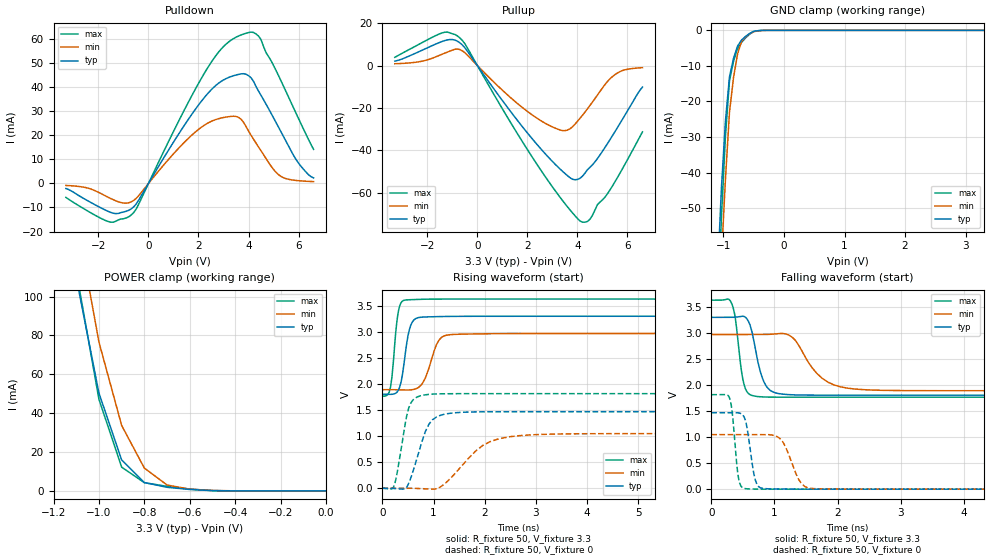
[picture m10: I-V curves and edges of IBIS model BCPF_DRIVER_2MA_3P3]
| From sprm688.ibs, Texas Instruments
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|   Model Cell BCPF_DRIVER_2MA_3P3
|BCPF_DRIVER_2MA_3P3
[Model]   BCPF_DRIVER_2MA_3P3
Model_type   I/O
Polarity   Non-Inverting
Enable   Active-Low
Vinl =  0.8
Vinh =  2
Cref =  15.0000pF
Rref =  100.0000M
Vref =  0V
Vmeas =  1.65
C_comp   1.21982p   0.982413p   1.3757p
[Model Spec]
Vinl   0.8   0.8   0.8
Vinh   2   2   2
[Temperature Range]   25   155   -40
[Voltage Range]   3.3   2.97   3.63
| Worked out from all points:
|   slope of the pulldown table from 0 to 0.495 V, typ, clamps not added: 57.1 ohm
|   slope of the pullup table from 0 to 0.495 V, typ, clamps not added: 59.6 ohm
|   GND clamp passes 1 mA (typ) near -0.58 V on its own axis
|   POWER clamp passes 1 mA (typ) near -0.62 V on its own axis
|   rising waveform, R_fixture 50, V_fixture 3.3: 20-80 % time 140ps typ, 221ps min, 104ps max; typ from 1.8 V to 3.3 V
|   rising waveform, R_fixture 50, V_fixture 0: 20-80 % time 294ps typ, 647ps min, 192ps max; typ from 0 V to 1.47 V
|   falling waveform, R_fixture 50, V_fixture 3.3: 20-80 % time 172ps typ, 397ps min, 112ps max; typ from 3.3 V to 1.8 V
|   falling waveform, R_fixture 50, V_fixture 0: 20-80 % time 109ps typ, 211ps min, 80.2ps max; typ from 1.47 V to 0 V
| Nom Voltages:
|   BIASFET=3.3, VDD=1.2, VDDS=3.3, VSS=0
| Min Voltages:
|   BIASFET=2.97, VDD=1.08, VDDS=2.97, VSS=0
| Max Voltages:
|   BIASFET=3.63, VDD=1.32, VDDS=3.63, VSS=0
[POWER_clamp]
|   voltage   I(typ)   I(min)   I(max)
-3.3V     1.919A     2.431A     2.069A
-1.1V     109.8mA    140.8mA    113.1mA
-1.067V   89.98mA    119.4mA    91.15mA
-1.033V   70.17mA    98.03mA    69.15mA
-1V       50.36mA    76.65mA    47.16mA
-900mV    15.95mA    33.71mA    12.25mA
-800mV    4.313mA    11.75mA    4.256mA
-700mV    1.873mA    3.047mA    2.352mA
-600mV    751.5uA    902uA      945.8uA
-500mV    149.1uA    244.6uA    161.3uA
0V        284.5pA    4.537nA    258.9pA
[Pulldown]
|   voltage   I(typ)   I(min)   I(max)
-3.3V     -2.106mA   -829.9uA   -5.795mA
-1.6V     -11.66mA   -5.789mA   -15.87mA
-700mV    -10.64mA   -7.705mA   -13.21mA
-400mV    -7.072mA   -5.205mA   -8.811mA
1.4V      23.67mA    16.77mA    29.91mA
2.4V      37.79mA    25.3mA     48.71mA
3.5V      45.14mA    27.89mA    60.88mA
4.1V      44.01mA    20.04mA    63.01mA
4.5V      36.67mA    13.59mA    59.86mA
5.2V      23.42mA    3.673mA    44.88mA
5.9V      9.948mA    1.257mA    29.22mA
6.6V      2.302mA    773.2uA    14.19mA
[Pullup]
|   voltage   I(typ)   I(min)   I(max)
-3.3V     2.084mA    839.6uA    3.878mA
-1.4V     11.4mA     5.387mA    15.44mA
-700mV    10.72mA    7.564mA    13.05mA
1.5V      -24.35mA   -16.9mA    -30.22mA
2.8V      -42.78mA   -27.82mA   -53.93mA
3.6V      -51.98mA   -30.47mA   -66.68mA
3.9V      -53.94mA   -27.71mA   -70.9mA
4.2V      -52.27mA   -23.51mA   -73.96mA
4.5V      -48.09mA   -18.87mA   -72.58mA
4.8V      -43.92mA   -13.95mA   -65.69mA
5.4V      -33.13mA   -5.221mA   -56.87mA
6.6V      -10.17mA   -1.007mA   -31.3mA
[GND_clamp]
|   voltage   I(typ)   I(min)   I(max)
-3.3V     -1.48A     -1.41A     -2.182A
-1.1V     -69.89mA   -89.88mA   -82.66mA
-1.033V   -44.44mA   -64.17mA   -52.62mA
-966.7mV  -25.49mA   -41.87mA   -29.79mA
-900mV    -13.05mA   -22.99mA   -14.19mA
-833.3mV  -7.883mA   -13.27mA   -8.716mA
-766.7mV  -4.439mA   -6.634mA   -5.116mA
-700mV    -2.713mA   -3.07mA    -3.386mA
-566.7mV  -872.3uA   -953.1uA   -1.075mA
-500mV    -267.3uA   -387.3uA   -301.7uA
-300mV    -620.6nA   -5.397uA   -306.5nA
3.3V      284.5pA    7.662uA    205pA
[Ramp]
| variable   typ   min   max
dV/dt_f 0.91068086/0.17315914n 0.65955626/0.40063246n  1.1310004/0.11316852n
dV/dt_r 0.89181332/0.29713445n 0.63958487/0.65404172n  1.0978302/0.1928678n
R_load = 50
[Rising Waveform]
R_fixture = 50
V_fixture = 3.3
V_fixture_min = 2.97
V_fixture_max = 3.63
|   time   V(typ)   V(min)   V(max)
0s        1.805V     1.891V     1.767V
159.2ps   1.802V     1.891V     1.943V
276.6ps   1.837V     1.89V      3.145V
328.2ps   1.912V     1.889V     3.461V
472.6ps   2.765V     1.885V     3.614V
643.6ps   3.252V     1.905V     3.621V
841.1ps   3.286V     2.117V     3.627V
1.107ns   3.294V     2.844V     3.63V
1.375ns   3.298V     2.95V      3.63V
20.05ns   3.3V       2.97V      3.63V
[Rising Waveform]
R_fixture = 50
V_fixture = 0
V_fixture_min = 0
V_fixture_max = 0
|   time   V(typ)   V(min)   V(max)
0s        0V         0V         0V
184.2ps   0V         0V         -11.16mV
237ps     -4.349mV   0V         69.12mV
472.8ps   19.15mV    0V         1.38V
596.4ps   317.8mV    0V         1.693V
883.4ps   1.177V     -13.59mV   1.799V
1.17ns    1.409V     49.43mV    1.813V
1.96ns    1.467V     819.3mV    1.815V
2.852ns   1.469V     1.022V     1.815V
20.01ns   1.469V     1.048V     1.815V
[Falling Waveform]
R_fixture = 50
V_fixture = 3.3
V_fixture_min = 2.97
V_fixture_max = 3.63
|   time   V(typ)   V(min)   V(max)
0s        3.3V       2.97V      3.63V
325.7ps   3.3V       2.97V      3.557V
496.2ps   3.323V     2.97V      2.133V
562.6ps   3.274V     2.97V      1.875V
788.2ps   2.213V     2.97V      1.773V
1.061ns   1.837V     2.987V     1.767V
1.284ns   1.812V     2.916V     1.766V
1.847ns   1.805V     2.056V     1.767V
2.418ns   1.805V     1.911V     1.767V
20.05ns   1.805V     1.891V     1.767V
[Falling Waveform]
R_fixture = 50
V_fixture = 0
V_fixture_min = 0
V_fixture_max = 0
|   time   V(typ)   V(min)   V(max)
0s        1.469V     1.048V     1.815V
284.2ps   1.469V     1.048V     1.765V
333.9ps   1.47V      1.048V     1.447V
433.4ps   1.465V     1.048V     195.6mV
577.2ps   1.097V     1.049V     5.968mV
697.4ps   174.8mV    1.049V     0V
894.6ps   7.295mV    1.048V     0V
1.09ns    2.604mV    969.1mV    0V
1.63ns    0V         9.869mV    0V
20.01ns   0V         0V         0V
